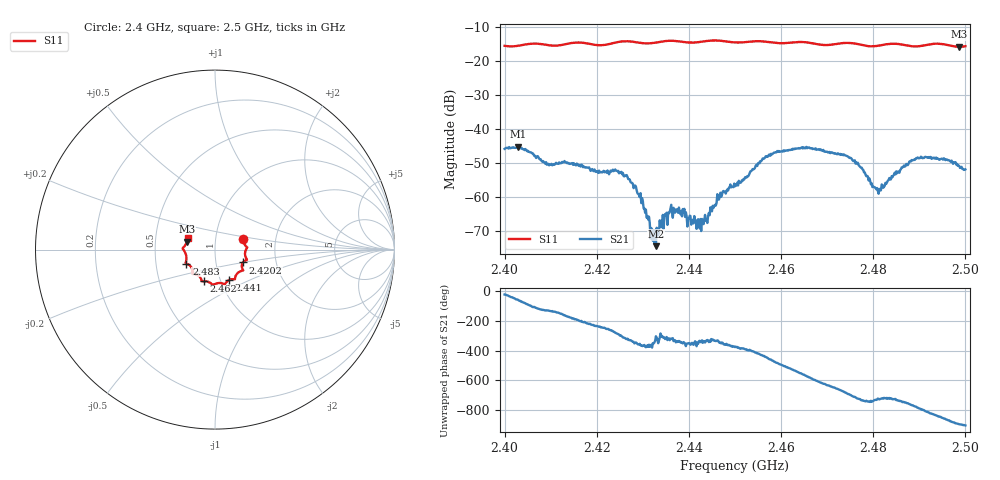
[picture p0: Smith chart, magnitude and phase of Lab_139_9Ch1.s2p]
# Hz S RI R 50
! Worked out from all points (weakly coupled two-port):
!   601 points, 2.4 GHz to 2.5 GHz, reference 50 ohm
!   highest |S21| = -45.22 dB at 2.4028 GHz (marker M1); lowest = -74.5 dB at 2.4328 GHz (marker M2)
!   lowest |S11| = -15.8 dB at 2.4987 GHz (marker M3), VSWR 1.39, Z = 36.4 + j3.33 ohm
!   |S11| at or under -10 dB: start of sweep to end of sweep
!   S12 and S22 are empty: the file has one direction only
!   S11 on the Smith chart (normalised r, x): 2.4 GHz: 1.36, +0.17; 2.4202 GHz: 1.35, -0.20; 2.441 GHz: 1.09, -0.39; 2.462 GHz: 0.83, -0.30; 2.483 GHz: 0.72, -0.12; 2.5 GHz: 0.73, +0.09
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2.4e9  0.1559 0.0602  0.00474 -0.0019  0 0  0 0
2.402833e9  0.1649 0.0279  0.00307 -0.00455  0 0  0 0
2.409333e9  0.1719 -0.00136  -0.00197 -0.00235  0 0  0 0
2.416667e9  0.1773 -0.0582  -0.00281 0.00101  0 0  0 0
2.420167e9  0.1558 -0.0718  -0.00136 0.00198  0 0  0 0
2.426667e9  0.157 -0.1166  0.00151 0.00127  0 0  0 0
2.432833e9  0.1142 -0.1486  0.000105 0.000158  0 0  0 0
2.433333e9  0.1127 -0.1525  0.000273 4.53e-05  0 0  0 0
2.436333e9  0.1102 -0.1653  0.000489 0.000378  0 0  0 0
2.441e9  0.0765 -0.1705  0.000409 -1.11e-05  0 0  0 0
2.443667e9  0.0581 -0.1876  0.000408 0.000197  0 0  0 0
2.45e9  0.0266 -0.1862  0.00138 -0.00042  0 0  0 0
2.4565e9  -0.0161 -0.1928  0.000464 -0.00376  0 0  0 0
2.462e9  -0.0622 -0.176  -0.00467 -0.00155  0 0  0 0
2.466667e9  -0.0763 -0.1667  -0.00345 0.00393  0 0  0 0
2.474833e9  -0.1258 -0.1354  0.00345 0.00149  0 0  0 0
2.480667e9  -0.1416 -0.0876  0.00126 -0.000312  0 0  0 0
2.483e9  -0.1591 -0.078  0.00164 -0.00017  0 0  0 0
2.483333e9  -0.1607 -0.0773  0.00178 -0.000121  0 0  0 0
2.489833e9  -0.1633 -0.0239  0.0013 -0.00348  0 0  0 0
2.498667e9  -0.1557 0.0445  -0.00285 -0.00011  0 0  0 0
2.5e9  -0.153 0.0632  -0.00253 0.000281  0 0  0 0
